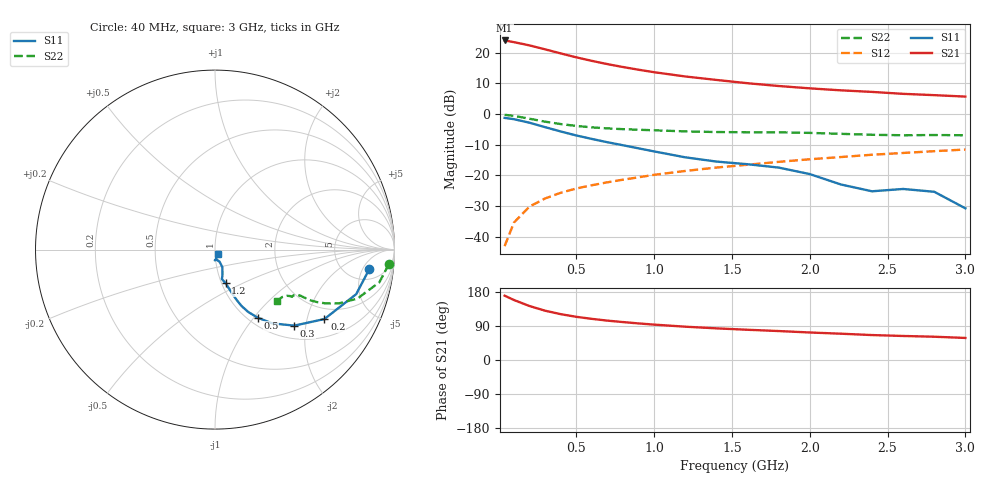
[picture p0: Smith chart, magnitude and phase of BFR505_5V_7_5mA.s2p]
! Filename:  BFR505L.S2P  Version:  3.0
! Philips part #: BFR505  Date: Feb 1992
! Bias condition: Vce=6V, Ic=7.5mA
#  MHz  S  MA  R  50
! Freq  S11  S21  S12  S22  !GUM [dB]
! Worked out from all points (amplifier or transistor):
!   21 points, 40 MHz to 3 GHz, reference 50 ohm
!   highest |S21| = 24.0 dB at 40 MHz (marker M1)
!   |S21| within 3 dB of that: start of sweep to 308.1 MHz
!   unconditionally stable (mu >= 1): 1.401 GHz to end of sweep
!   at 300 MHz: K = 0.54, MSG = 24.3 dB, |S12| = -27.5 dB
!   at 1 GHz: K = 0.94, MSG = 16.7 dB, |S12| = -19.8 dB
!   at 3 GHz: K = 1.05, MAG = 7.3 dB, |S12| = -11.6 dB
!   S11 on the Smith chart (normalised r, x): 40 MHz: 8, -7; 200 MHz: 1.58, -2.56; 300 MHz: 1.27, -1.73; 500 MHz: 1.10, -1.05; 1.2 GHz: 1.04, -0.41; 3 GHz: 1.03, -0.05
40  0.866 -7.3  15.87 169.8  0.007 84.5  0.972 -4.8
100  0.825 -17.5  14.9 158.3  0.017 80.1  0.934 -11.2
200  0.722 -32.4  13.18 142.4  0.031 73.4  0.839 -19.0
300  0.612 -43.8  11.37 130.1  0.042 70.2  0.752 -23.5
400  0.52 -52.2  9.759 121.0  0.052 69.1  0.687 -25.9
500  0.448 -57.9  8.422 114.0  0.061 69.3  0.64 -27.2
600  0.393 -62.0  7.377 108.6  0.069 69.3  0.607 -27.9
700  0.347 -64.8  6.527 103.9  0.077 69.8  0.584 -28.1
800  0.31 -66.5  5.85 100.1  0.085 70.1  0.567 -28.2
900  0.276 -68.0  5.289 96.5  0.093 70.6  0.555 -28.3
1000  0.246 -69.4  4.817 93.4  0.102 70.7  0.543 -28.3
1200  0.197 -72.5  4.104 87.9  0.118 71.0  0.522 -28.9
1400  0.168 -76.8  3.604 83.5  0.134 71.0  0.509 -30.0
1600  0.152 -74.3  3.184 79.8  0.149 71.1  0.505 -30.5
1800  0.134 -71.9  2.869 76.4  0.166 71.2  0.503 -31.5
2000  0.105 -67.3  2.626 72.6  0.183 70.2  0.493 -31.7
2200  0.071 -69.5  2.437 69.4  0.199 69.5  0.476 -32.7
2400  0.055 -84.2  2.298 65.8  0.217 68.5  0.459 -35.1
2600  0.06 -91.2  2.137 63.4  0.232 68.0  0.451 -37.8
2800  0.054 -84.5  2.034 61.4  0.248 67.8  0.455 -39.4
3000  0.029 -56.7  1.927 58.2  0.264 66.7  0.451 -39.7
